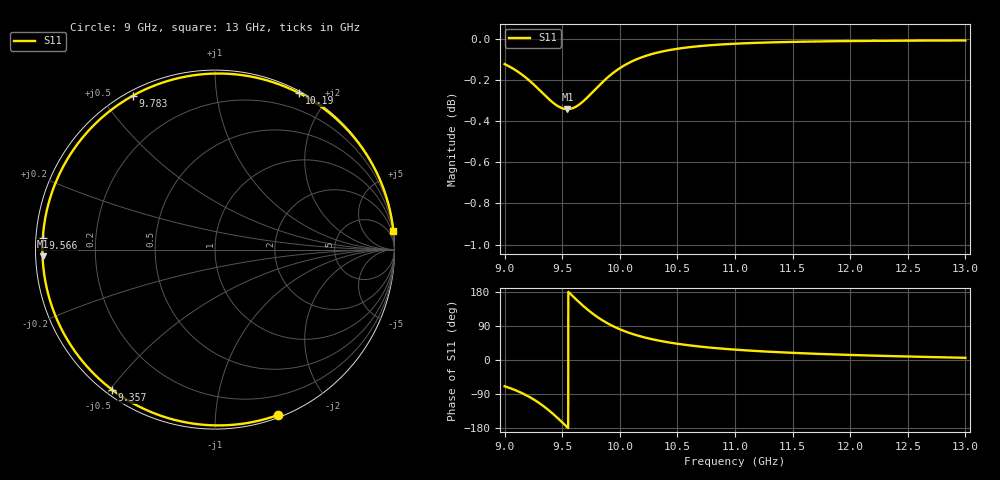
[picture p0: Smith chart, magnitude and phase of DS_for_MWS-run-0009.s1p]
! TOUCHSTONE file generated by CST DESIGN STUDIO
! Date and time: Tue Feb  4 13:45:19 2025
! Project name: C:\Work\MatlabApps\UnitCellOptimizationMatlab\CST\unitcell.cst
! Tree item: Tasks\Sweep1\SPara1\S-Parameters
! Header version: 2024
! Port assignment regex: !\s*Touchstone port\s*([0-9]+)\s*=\s*(CST MWS port|CST DES external port|CST DES block port)\s*(.+)\s* \(\"(.*)\"\)(\s*mode\s*([0-9]+))?.*
! Touchstone port assignment:
! Touchstone port 1 = CST DES external port 1 ("")
# GHz S MA R 50
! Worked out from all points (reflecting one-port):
!   4001 points, 9 GHz to 13 GHz, reference 50 ohm
!   lowest |S11| = -0.3 dB at 9.545 GHz (marker M1), VSWR 50.91, Z = 0.982 - j0.975 ohm
!   phase of S11 starts at -69 deg and turns -285 deg over the sweep
!   S11 on the Smith chart (normalised r, x): 9 GHz: 0.02, -1.45; 9.357 GHz: 0.02, -0.51; 9.566 GHz: 0.02, +0.03; 9.783 GHz: 0.02, +0.60; 10.19 GHz: 0.02, +1.68; 13 GHz: 0, +20
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9  0.986 -69.3
9.102  0.9824 -80.8
9.212  0.9771 -96.9
9.288  0.9727 -111.0
9.357  0.9685 -126.2
9.426  0.9647 -143.7
9.465  0.963 -154.4
9.5  0.962 -164.5
9.545  0.9615 -177.8
9.566  0.9616 176.0
9.621  0.9629 159.9
9.681  0.9656 143.2
9.732  0.9686 130.1
9.783  0.9719 118.2
9.83  0.9749 108.4
9.88  0.9779 99.1
9.936  0.9808 90.0
10  0.9838 81.1
10.091  0.9871 70.6
10.189  0.9897 61.6
10.331  0.9924 51.6
10.5  0.9945 42.8
10.721  0.9961 34.6
11  0.9973 27.3
11.5  0.9984 18.9
12  0.9988 13.3
12.5  0.999 9.2
13  0.9991 5.8
